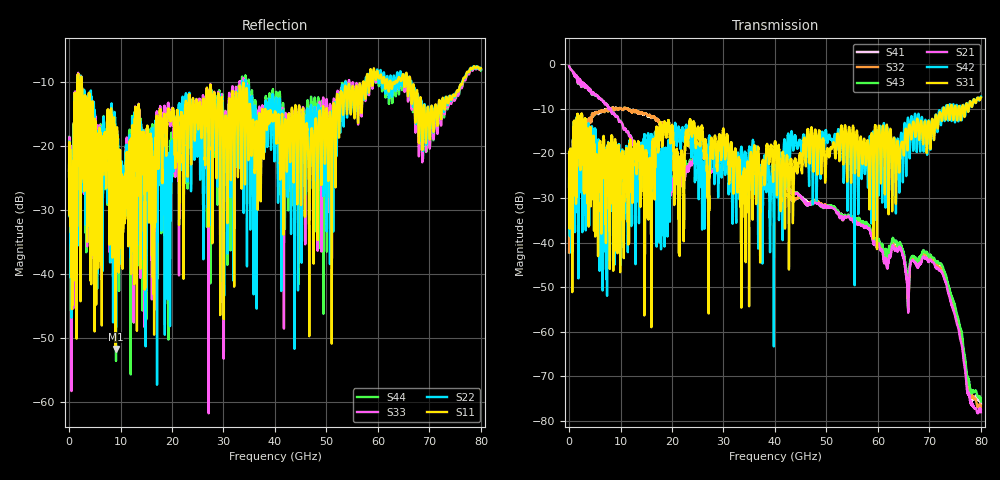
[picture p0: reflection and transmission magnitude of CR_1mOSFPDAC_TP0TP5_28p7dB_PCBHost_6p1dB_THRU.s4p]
!! Reference: shanbhag_3dj_01_2305.pdf
!! CHANNEL DESCRIPTION: TP0_TP5 CR Channel using 1meter DAC, PCB Host
!! MODEL DESCRIPTION: s4p, THRU
!! CONNECTOR DESCRIPTION: OSFP 200G SMT
!! CABLE DESCRIPTION: 1meter 26AWG Cable
!! MODEL STATUS: Developmental
!! PORT DEFINITIONS:
!! Port  1  ----->  Side A  Side B  <-----  Port  2
!! Port  3  ----->  Side A  Side B  <-----  Port  4
# HZ S MA R 50.000000
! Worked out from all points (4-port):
!   8000 points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, 10 MHz to 80 GHz, reference 50 ohm
!   strongest paths, dB at 10 MHz, 20.01 GHz, 40.01 GHz, 60.01 GHz, 80 GHz:
!     S31: -27.4, -13.6, -17.9, -16.5, -7.5
!     S42: -27.5, -14.4, -24.1, -19.3, -7.3
!     S21: -0.4, -26.1, -27.8, -40.4, -78.0
!     S43: -0.5, -25.8, -28.0, -39.4, -75.6
!     S32: -42.2, -14.9, -27.9, -39.6, -77.3
!     S41: -42.2, -14.9, -28.1, -40.0, -76.1
!   lowest |S11| = -51.8 dB at 9.04 GHz (marker M1), VSWR 1.01, Z = 49.7 - j0.0151 ohm
!   |S11| at or under -10 dB: start of sweep to 1.669 GHz; 2.453 GHz to 57.17 GHz (54.72 GHz wide, 184 % of centre); 66.31 GHz to 76.44 GHz (10.13 GHz wide, 14.2 % of centre) (the widest 3 of 18)
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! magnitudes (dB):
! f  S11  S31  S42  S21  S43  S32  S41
! 10 MHz  -24.8  -27.4  -27.5  -0.4  -0.5  -42.2  -42.2
! 2.75 GHz  -19.0  -15.6  -16.7  -4.5  -4.6  -13.8  -13.8
! 9.04 GHz  -51.8  -18.1  -17.8  -11.8  -11.7  -9.9  -9.9
! 18.61 GHz  -16.1  -13.8  -23.7  -30.8  -30.3  -13.4  -13.3
! 33.6 GHz  -17.0  -27.9  -20.3  -25.9  -25.8  -26.4  -26.2
! 70.48 GHz  -13.9  -12.6  -12.6  -44.3  -43.3  -43.7  -43.9
! 80 GHz  -7.9  -7.5  -7.3  -78.0  -75.6  -77.3  -76.1
